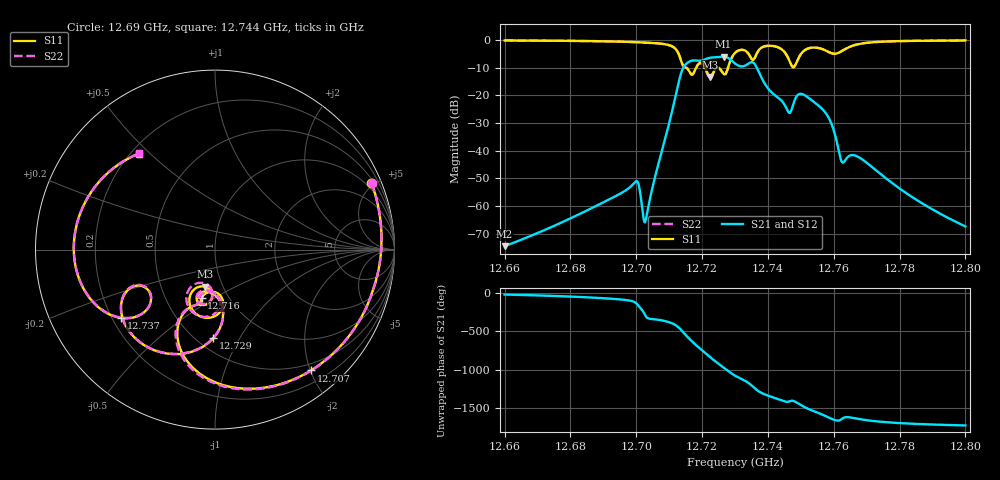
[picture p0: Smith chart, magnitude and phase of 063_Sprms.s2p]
! TOUCHSTONE file generated by CST MICROWAVE STUDIO
! Date and time: Wed Jul 31 13:52:28 2024
! Project name: WaveGuide_BPF-Ver4.1_U-shape_Ku_T3_C4_CWA_2.cst
! Parameters = {cavity_h=16; cavity_l0=10; cavity_l1=15.2135; cavity_l2=16.8038; cavity_l3=17.0974; cavity_l4=17.2468; cavity_l5=17.1379; cavity_l6=17.6356; cavity_r=2.5; cavity_screw_l=0.5; cavity_screw_r=1.5; cavity_w=8; iris_h00=0; iris_h01=8.8178; iris_h112=0; iris_h12=5.5949; iris_h211=3.6552; 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
! Header version: 2018
! Port assignment regex: !\s*Touchstone port\s*([0-9]+)\s*=\s*(CST MWS port|CST DS port)\s*([0-9]+|Zmin|Zmax)\s*\(\"(.*)\"\)(\s*mode\s*([0-9]+))?.*
! Touchstone port assignment:
! Touchstone port 1 = CST MWS port 1 ("")
! Touchstone port 2 = CST MWS port 2 ("")
# GHz S RI R 50
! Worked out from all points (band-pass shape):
!   5001 points, 12.66 GHz to 12.8 GHz, reference 50 ohm
!   highest |S21| = -5.97 dB at 12.727 GHz (marker M1); lowest = -74.5 dB at 12.66 GHz (marker M2)
!   |S21| within 3 dB of the highest: 12.71488 GHz to 12.73058 GHz (15.7 MHz wide, 0.123 % of centre); 12.73352 GHz to 12.73613 GHz (2.617 MHz wide, 0.0205 % of centre)
!   lowest |S11| = -13.4 dB at 12.722 GHz (marker M3), VSWR 1.55, Z = 41.2 - j17.9 ohm
!   |S11| at or under -10 dB: 12.715 GHz to 12.71817 GHz (3.169 MHz wide, 0.0249 % of centre); 12.72092 GHz to 12.72466 GHz (3.739 MHz wide, 0.0294 % of centre); 12.72487 GHz to 12.72785 GHz (2.979 MHz wide, 0.0234 % of centre)
!   |S22| runs from -14.1 to -0.2 dB; largest |S21 - S12| = 1e-09
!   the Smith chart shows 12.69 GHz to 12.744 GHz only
!   S11 on the Smith chart (normalised r, x): 12.69 GHz: 0.65, +4.79; 12.707 GHz: 0.39, -2.01; 12.716 GHz: 0.75, -0.44; 12.729 GHz: 0.60, -0.78; 12.737 GHz: 0.24, -0.31; 12.744 GHz: 0.23, +0.46
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12.66  0.3527 0.9148  0.000172 -7.9e-05  0.000172 -7.9e-05  0.3513 0.9152
12.68335  0.759 0.5878  0.000406 -0.000626  0.000406 -0.000626  0.7603 0.5857
12.68985  0.8714 0.3731  0.00036 -0.0011  0.00036 -0.0011  0.8729 0.3688
12.70004  0.8964 -0.1727  -0.00217 -0.00181  -0.00217 -0.00181  0.8941 -0.182
12.70273  0.8259 -0.3575  0.00023 0.00047  0.00023 0.00047  0.821 -0.3674
12.70668  0.5944 -0.6323  0.00557 0.000785  0.00557 0.000785  0.585 -0.6409
12.70735  0.5344 -0.6732  0.00792 0.000499  0.00792 0.000499  0.5243 -0.6812
12.71597  -0.074 -0.2691  -0.2516 0.3134  -0.2516 0.3134  -0.0894 -0.2673
12.71922  -0.0254 -0.3788  0.4207 0.0025  0.4207 0.0025  -0.0488 -0.3741
12.72241  -0.0563 -0.2071  -0.1977 -0.4349  -0.1977 -0.4349  -0.0572 -0.1882
12.72653  -0.0668 -0.2349  -0.1541 0.4787  -0.1541 0.4787  -0.0676 -0.2275
12.7291  -0.00873 -0.4923  0.373 0.189  0.373 0.189  -0.0068 -0.489
12.73  -0.1315 -0.5695  0.3755 0.0268  0.3755 0.0268  -0.1308 -0.5674
12.73717  -0.5238 -0.3806  -0.256 0.0846  -0.256 0.0846  -0.5238 -0.3789
12.74411  -0.4259 0.5333  0.0591 0.0546  0.0591 0.0546  -0.4214 0.5364
12.74761  0.321 -0.0173  0.0528 0.0404  0.0528 0.0404  0.3268 -0.0167
12.75335  -0.7248 0.0598  0.00485 -0.081  0.00485 -0.081  -0.7251 0.0476
12.75775  -0.0684 0.634  -0.0445 -0.0124  -0.0445 -0.0124  -0.0704 0.6298
12.76136  0.5779 -0.0791  -0.00859 0.00699  -0.00859 0.00699  0.5737 -0.0947
12.76592  -0.0916 -0.7883  -0.00831 0.000705  -0.00831 0.000705  -0.108 -0.789
12.77668  -0.8772 -0.3433  -0.00137 0.00258  -0.00137 0.00258  -0.8798 -0.3389
12.8  -0.9424 0.2693  8.95e-05 0.00042  8.95e-05 0.00042  -0.9427 0.2687
